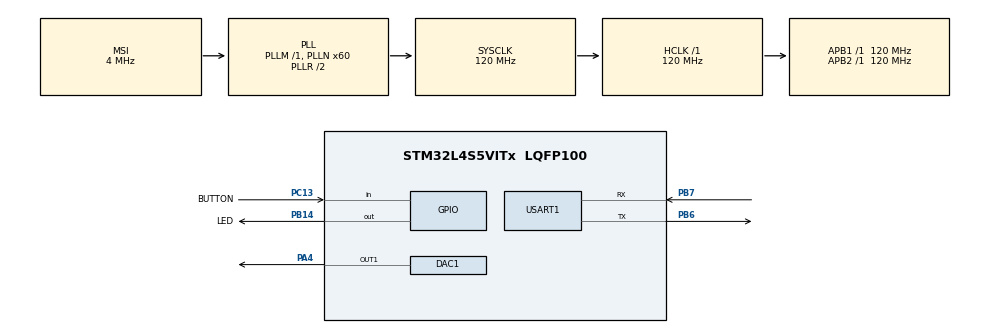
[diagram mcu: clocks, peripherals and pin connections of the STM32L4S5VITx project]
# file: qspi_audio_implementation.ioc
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Mcu.Family=STM32L4
Mcu.Name=STM32L4S5VITx
Mcu.Package=LQFP100
NVIC.PriorityGroup=NVIC_PRIORITYGROUP_4
NVIC.TIM6_DAC_IRQn=true\:15\:0\:false\:false\:true\:false\:true\:true
PA4.Signal=COMP_DAC11_group
PB14.GPIO_Label=LED
PB14.Signal=GPIO_Output
PB6.Mode=Asynchronous
PB6.Signal=USART1_TX
PB7.Mode=Asynchronous
PB7.Signal=USART1_RX
PC13.GPIO_Label=BUTTON
PC13.Signal=GPIO_Input
PE10.Signal=OCTOSPIM_P1_CLK
PE11.Signal=OCTOSPIM_P1_NCS
PE12.Signal=OCTOSPIM_P1_IO0
PE13.Signal=OCTOSPIM_P1_IO1
PE14.Signal=OCTOSPIM_P1_IO2
PE15.Signal=OCTOSPIM_P1_IO3
ProjectManager.HeapSize=0x200
ProjectManager.StackSize=0x400
ProjectManager.TargetToolchain=STM32CubeIDE
RCC.ADCFreq_Value=48000000
RCC.AHBFreq_Value=120000000
RCC.APB1Freq_Value=120000000
RCC.APB1TimFreq_Value=120000000
RCC.APB2Freq_Value=120000000
RCC.APB2TimFreq_Value=120000000
RCC.CortexFreq_Value=120000000
RCC.HCLKFreq_Value=120000000
RCC.HSE_VALUE=8000000
RCC.HSI48_VALUE=48000000
RCC.HSI_VALUE=16000000
RCC.LSE_VALUE=32768
RCC.MSI_VALUE=4000000
RCC.PLLN=60
RCC.PLLSAI1N=24
RCC.SYSCLKFreq_VALUE=120000000
RCC.SYSCLKSource=RCC_SYSCLKSOURCE_PLLCLK
RCC.USBFreq_Value=48000000
RCC.VCOOutputFreq_Value=240000000
SH.COMP_DAC11_group.0=DAC1_OUT1,DAC_OUT1
USART1.VirtualMode-Asynchronous=VM_ASYNC
VP_OCTOSPI1_VS_quad.Mode=quad_mode
VP_TIM6_VS_ClockSourceINT.Mode=Enable_Timer
board=B-L4S5I-IOT01A

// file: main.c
/* USER CODE BEGIN Header */
/**
  ******************************************************************************
  * @file           : main.c
  * @brief          : Main program body - Simple Audio Player with QSPI Flash
  ******************************************************************************
  */
/* USER CODE END Header */
#include "main.h"

/* USER CODE BEGIN Includes */
#include <string.h>
#include <stdio.h>
#include "stm32l4s5i_iot01_qspi.h"
#include "ringtone_data.h"
#include "audio_player.h"
/* USER CODE END Includes */

DAC_HandleTypeDef hdac1;

OSPI_HandleTypeDef hospi1;

TIM_HandleTypeDef htim6;

UART_HandleTypeDef huart1;

/* USER CODE BEGIN PV */
static uint8_t audio_ready = 0;
static uint32_t last_button_time = 0;
/* USER CODE END PV */

void SystemClock_Config(void);
static void MX_GPIO_Init(void);
static void MX_USART1_UART_Init(void);
static void MX_OCTOSPI1_Init(void);
static void MX_DAC1_Init(void);
static void MX_TIM6_Init(void);

int main(void)
{
  /* USER CODE BEGIN 1 */
  GPIO_PinState button_state;
  GPIO_PinState last_button_state = GPIO_PIN_SET;
  uint32_t led_timer = 0;
  char msg[50];
  /* USER CODE END 1 */

  /* MCU Configuration--------------------------------------------------------*/

  /* Reset of all peripherals, Initializes the Flash interface and the Systick. */
  HAL_Init();

  /* Configure the system clock */
  SystemClock_Config();

  /* Initialize all configured peripherals */
  MX_GPIO_Init();
  MX_USART1_UART_Init();
  MX_OCTOSPI1_Init();
  MX_DAC1_Init();
  MX_TIM6_Init();
  /* USER CODE BEGIN 2 */

  // Send startup message
  char startup_msg[] = "\r\n=== Audio Player Started ===\r\n";
  HAL_UART_Transmit(&huart1, (uint8_t*)startup_msg, strlen(startup_msg), 100);

  // Initialize audio system
  HAL_UART_Transmit(&huart1, (uint8_t*)"Initializing audio...\r\n", 23, 100);
  Audio_Init();

  // Store audio to QSPI (only needed once)
  HAL_UART_Transmit(&huart1, (uint8_t*)"Storing audio to QSPI...\r\n", 27, 100);
  Audio_Store(ringtone_raw, ringtone_raw_len);

  audio_ready = 1;
  HAL_UART_Transmit(&huart1, (uint8_t*)"Audio ready! Press button to play.\r\n\r\n", 39, 100);

  /* USER CODE END 2 */

  /* Infinite loop */
  while (1)
  {

    /* USER CODE BEGIN 3 */

    // Heartbeat LED - toggle every 1000ms
    if (HAL_GetTick() - led_timer >= 1000)
    {
      HAL_GPIO_TogglePin(GPIOB, GPIO_PIN_14);
      led_timer = HAL_GetTick();

      // Send status message
      snprintf(msg, sizeof(msg), "Status: Running | Audio: %s\r\n",
               audio_ready ? "Ready" : "Not Ready");
      HAL_UART_Transmit(&huart1, (uint8_t*)msg, strlen(msg), 100);
    }

    // Button handling with debouncing
    button_state = HAL_GPIO_ReadPin(GPIOC, GPIO_PIN_13);

    // Detect button press (transition from high to low)
    if (last_button_state == GPIO_PIN_SET && button_state == GPIO_PIN_RESET)
    {
      // Debounce check - at least 100ms since last press
      if ((HAL_GetTick() - last_button_time) > 100)
      {
        last_button_time = HAL_GetTick();

        HAL_UART_Transmit(&huart1, (uint8_t*)"\r\n>>> Button Pressed! <<<\r\n", 28, 100);

        if (audio_ready)
        {
          HAL_UART_Transmit(&huart1, (uint8_t*)"Playing audio...\r\n", 18, 100);

          // Turn on LED during playback
          HAL_GPIO_WritePin(GPIOB, GPIO_PIN_14, GPIO_PIN_SET);

          Audio_Play();

          // Turn off LED after playback
          HAL_GPIO_WritePin(GPIOB, GPIO_PIN_14, GPIO_PIN_RESET);

          HAL_UART_Transmit(&huart1, (uint8_t*)"Audio finished.\r\n\r\n", 19, 100);
        }
        else
        {
          HAL_UART_Transmit(&huart1, (uint8_t*)"Audio not ready!\r\n\r\n", 20, 100);
        }
      }
    }

    last_button_state = button_state;

    // Small delay to prevent CPU hogging
    HAL_Delay(10);
  }
  /* USER CODE END 3 */
}

void SystemClock_Config(void)
{
  RCC_OscInitTypeDef RCC_OscInitStruct = {0};
  RCC_ClkInitTypeDef RCC_ClkInitStruct = {0};

  /** Configure the main internal regulator output voltage
  */
  if (HAL_PWREx_ControlVoltageScaling(PWR_REGULATOR_VOLTAGE_SCALE1_BOOST) != HAL_OK)
  {
    Error_Handler();
  }

  /** Initializes the RCC Oscillators according to the specified parameters
  * in the RCC_OscInitTypeDef structure.
  */
  RCC_OscInitStruct.OscillatorType = RCC_OSCILLATORTYPE_MSI;
  RCC_OscInitStruct.MSIState = RCC_MSI_ON;
  RCC_OscInitStruct.MSICalibrationValue = 0;
  RCC_OscInitStruct.MSIClockRange = RCC_MSIRANGE_6;
  RCC_OscInitStruct.PLL.PLLState = RCC_PLL_ON;
  RCC_OscInitStruct.PLL.PLLSource = RCC_PLLSOURCE_MSI;
  RCC_OscInitStruct.PLL.PLLM = 1;
  RCC_OscInitStruct.PLL.PLLN = 60;
  RCC_OscInitStruct.PLL.PLLP = RCC_PLLP_DIV2;
  RCC_OscInitStruct.PLL.PLLQ = RCC_PLLQ_DIV2;
  RCC_OscInitStruct.PLL.PLLR = RCC_PLLR_DIV2;
  if (HAL_RCC_OscConfig(&RCC_OscInitStruct) != HAL_OK)
  {
    Error_Handler();
  }

  /** Initializes the CPU, AHB and APB buses clocks
  */
  RCC_ClkInitStruct.ClockType = RCC_CLOCKTYPE_HCLK|RCC_CLOCKTYPE_SYSCLK
                              |RCC_CLOCKTYPE_PCLK1|RCC_CLOCKTYPE_PCLK2;
  RCC_ClkInitStruct.SYSCLKSource = RCC_SYSCLKSOURCE_PLLCLK;
  RCC_ClkInitStruct.AHBCLKDivider = RCC_SYSCLK_DIV1;
  RCC_ClkInitStruct.APB1CLKDivider = RCC_HCLK_DIV1;
  RCC_ClkInitStruct.APB2CLKDivider = RCC_HCLK_DIV1;

  if (HAL_RCC_ClockConfig(&RCC_ClkInitStruct, FLASH_LATENCY_5) != HAL_OK)
  {
    Error_Handler();
  }
}

static void MX_DAC1_Init(void)
{

  DAC_ChannelConfTypeDef sConfig = {0};

  /** DAC Initialization
  */
  hdac1.Instance = DAC1;
  if (HAL_DAC_Init(&hdac1) != HAL_OK)
  {
    Error_Handler();
  }

  /** DAC channel OUT1 config
  */
  sConfig.DAC_SampleAndHold = DAC_SAMPLEANDHOLD_DISABLE;
  sConfig.DAC_Trigger = DAC_TRIGGER_NONE;
  sConfig.DAC_HighFrequency = DAC_HIGH_FREQUENCY_INTERFACE_MODE_ABOVE_80MHZ;
  sConfig.DAC_OutputBuffer = DAC_OUTPUTBUFFER_ENABLE;
  sConfig.DAC_ConnectOnChipPeripheral = DAC_CHIPCONNECT_DISABLE;
  sConfig.DAC_UserTrimming = DAC_TRIMMING_FACTORY;
  if (HAL_DAC_ConfigChannel(&hdac1, &sConfig, DAC_CHANNEL_1) != HAL_OK)
  {
    Error_Handler();
  }

}

static void MX_OCTOSPI1_Init(void)
{

  /* OCTOSPI1 parameter configuration*/
  hospi1.Instance = OCTOSPI1;
  hospi1.Init.FifoThreshold = 1;
  hospi1.Init.DualQuad = HAL_OSPI_DUALQUAD_DISABLE;
  hospi1.Init.MemoryType = HAL_OSPI_MEMTYPE_MICRON;
  hospi1.Init.DeviceSize = 32;
  hospi1.Init.ChipSelectHighTime = 1;
  hospi1.Init.FreeRunningClock = HAL_OSPI_FREERUNCLK_DISABLE;
  hospi1.Init.ClockMode = HAL_OSPI_CLOCK_MODE_0;
  hospi1.Init.ClockPrescaler = 1;
  hospi1.Init.SampleShifting = HAL_OSPI_SAMPLE_SHIFTING_NONE;
  hospi1.Init.DelayHoldQuarterCycle = HAL_OSPI_DHQC_DISABLE;
  hospi1.Init.ChipSelectBoundary = 0;
  hospi1.Init.DelayBlockBypass = HAL_OSPI_DELAY_BLOCK_BYPASSED;
  if (HAL_OSPI_Init(&hospi1) != HAL_OK)
  {
    Error_Handler();
  }

}

static void MX_TIM6_Init(void)
{

  TIM_MasterConfigTypeDef sMasterConfig = {0};

  htim6.Instance = TIM6;
  htim6.Init.Prescaler = 0;
  htim6.Init.CounterMode = TIM_COUNTERMODE_UP;
  htim6.Init.Period = 65535;
  htim6.Init.AutoReloadPreload = TIM_AUTORELOAD_PRELOAD_DISABLE;
  if (HAL_TIM_Base_Init(&htim6) != HAL_OK)
  {
    Error_Handler();
  }
  sMasterConfig.MasterOutputTrigger = TIM_TRGO_RESET;
  sMasterConfig.MasterSlaveMode = TIM_MASTERSLAVEMODE_DISABLE;
  if (HAL_TIMEx_MasterConfigSynchronization(&htim6, &sMasterConfig) != HAL_OK)
  {
    Error_Handler();
  }

}

static void MX_USART1_UART_Init(void)
{

  huart1.Instance = USART1;
  huart1.Init.BaudRate = 115200;
  huart1.Init.WordLength = UART_WORDLENGTH_8B;
  huart1.Init.StopBits = UART_STOPBITS_1;
  huart1.Init.Parity = UART_PARITY_NONE;
  huart1.Init.Mode = UART_MODE_TX_RX;
  huart1.Init.HwFlowCtl = UART_HWCONTROL_NONE;
  huart1.Init.OverSampling = UART_OVERSAMPLING_16;
  huart1.Init.OneBitSampling = UART_ONE_BIT_SAMPLE_DISABLE;
  huart1.Init.ClockPrescaler = UART_PRESCALER_DIV1;
  huart1.AdvancedInit.AdvFeatureInit = UART_ADVFEATURE_NO_INIT;
  if (HAL_UART_Init(&huart1) != HAL_OK)
  {
    Error_Handler();
  }
  if (HAL_UARTEx_SetTxFifoThreshold(&huart1, UART_TXFIFO_THRESHOLD_1_8) != HAL_OK)
  {
    Error_Handler();
  }
  if (HAL_UARTEx_SetRxFifoThreshold(&huart1, UART_RXFIFO_THRESHOLD_1_8) != HAL_OK)
  {
    Error_Handler();
  }
  if (HAL_UARTEx_DisableFifoMode(&huart1) != HAL_OK)
  {
    Error_Handler();
  }

}

static void MX_GPIO_Init(void)
{
  GPIO_InitTypeDef GPIO_InitStruct = {0};

  /* GPIO Ports Clock Enable */
  __HAL_RCC_GPIOC_CLK_ENABLE();
  __HAL_RCC_GPIOA_CLK_ENABLE();
  __HAL_RCC_GPIOE_CLK_ENABLE();
  __HAL_RCC_GPIOB_CLK_ENABLE();

  /*Configure GPIO pin Output Level */
  HAL_GPIO_WritePin(LED_GPIO_Port, LED_Pin, GPIO_PIN_RESET);

  /*Configure GPIO pin : BUTTON_Pin */
  GPIO_InitStruct.Pin = BUTTON_Pin;
  GPIO_InitStruct.Mode = GPIO_MODE_INPUT;
  GPIO_InitStruct.Pull = GPIO_NOPULL;
  HAL_GPIO_Init(BUTTON_GPIO_Port, &GPIO_InitStruct);

  /*Configure GPIO pins : PE10 PE11 PE12 PE13
                           PE14 PE15 */
  GPIO_InitStruct.Pin = GPIO_PIN_10|GPIO_PIN_11|GPIO_PIN_12|GPIO_PIN_13
                          |GPIO_PIN_14|GPIO_PIN_15;
  GPIO_InitStruct.Mode = GPIO_MODE_AF_PP;
  GPIO_InitStruct.Pull = GPIO_NOPULL;
  GPIO_InitStruct.Speed = GPIO_SPEED_FREQ_VERY_HIGH;
  GPIO_InitStruct.Alternate = GPIO_AF10_OCTOSPIM_P1;
  HAL_GPIO_Init(GPIOE, &GPIO_InitStruct);

  /*Configure GPIO pin : LED_Pin */
  GPIO_InitStruct.Pin = LED_Pin;
  GPIO_InitStruct.Mode = GPIO_MODE_OUTPUT_PP;
  GPIO_InitStruct.Pull = GPIO_NOPULL;
  GPIO_InitStruct.Speed = GPIO_SPEED_FREQ_LOW;
  HAL_GPIO_Init(LED_GPIO_Port, &GPIO_InitStruct);

}

void Error_Handler(void)
{
  /* USER CODE BEGIN Error_Handler_Debug */
  /* User can add his own implementation to report the HAL error return state */
  __disable_irq();
  while (1)
  {
    // Blink LED rapidly to indicate error
    HAL_GPIO_TogglePin(GPIOB, GPIO_PIN_14);
    HAL_Delay(200);
  }
  /* USER CODE END Error_Handler_Debug */
}
